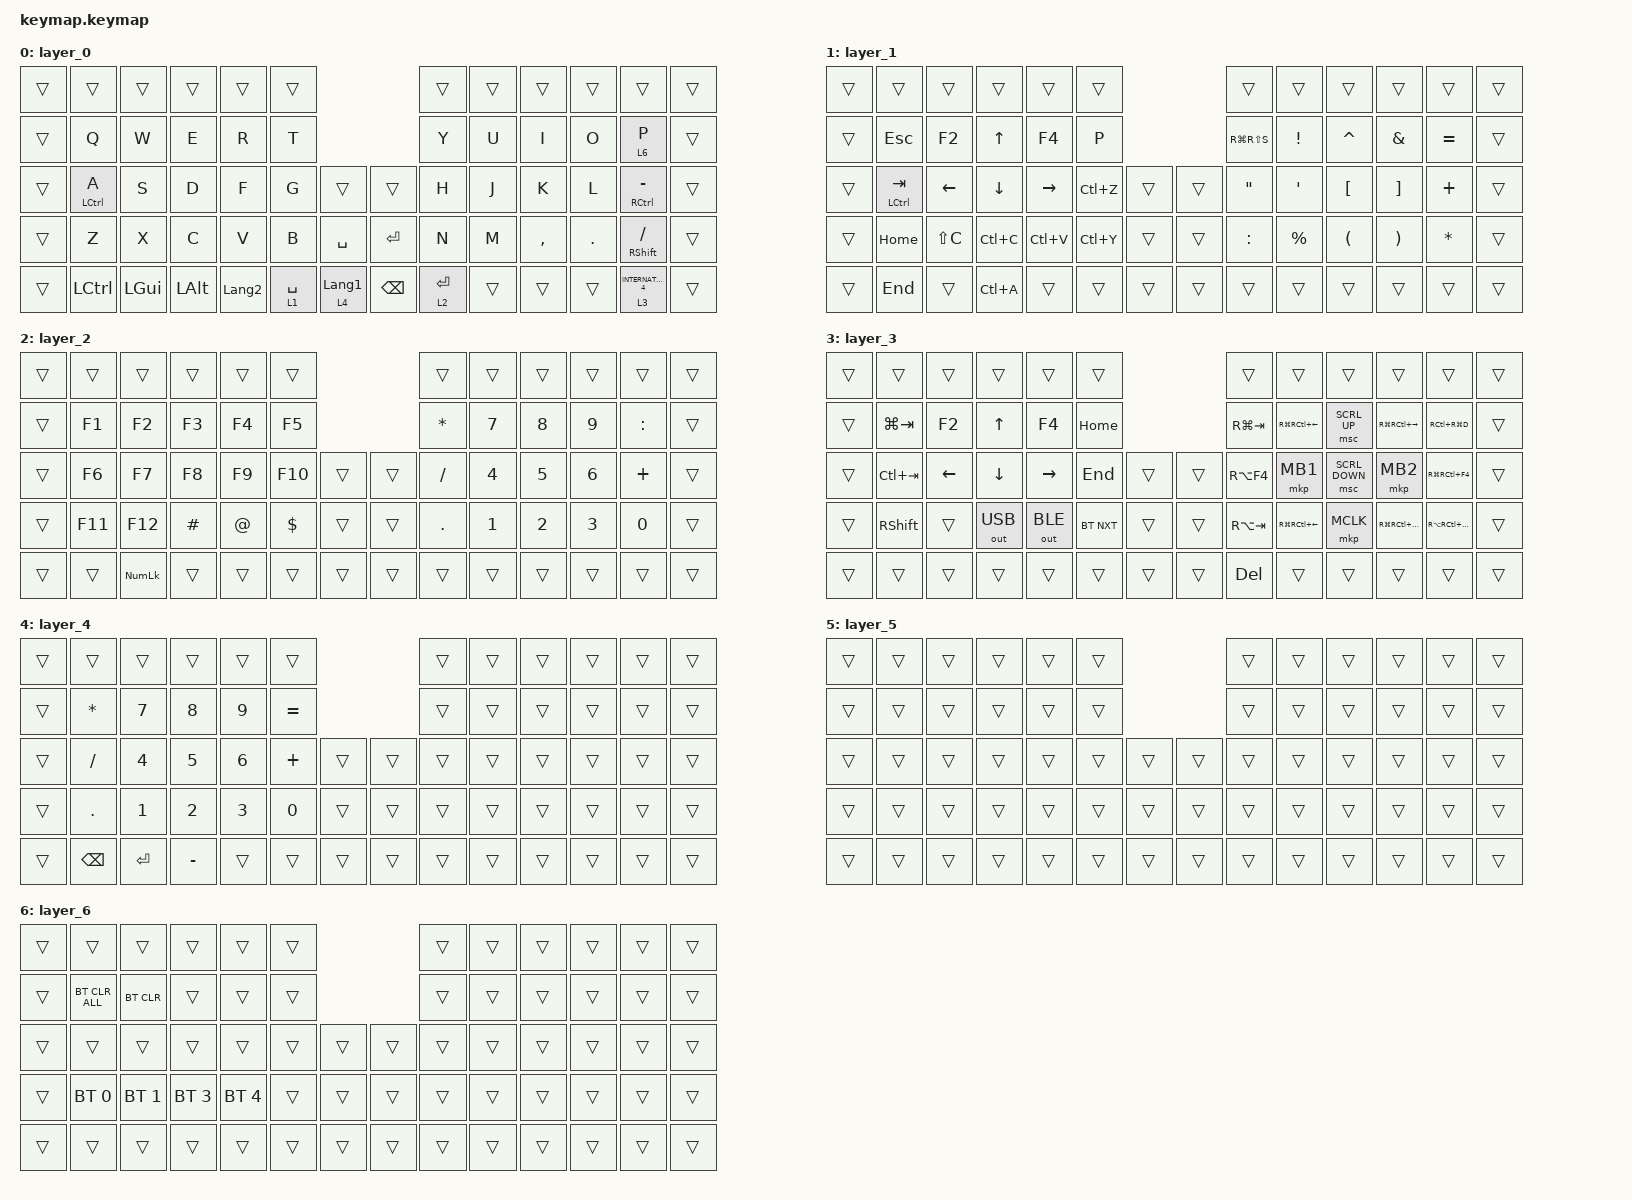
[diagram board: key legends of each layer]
#include <behaviors.dtsi>
#include <dt-bindings/zmk/bt.h>
#include <dt-bindings/zmk/keys.h>
#include <dt-bindings/zmk/outputs.h>
#include <dt-bindings/zmk/pointing.h>

/ {
    combos {
        compatible = "zmk,combos";

        bt_clear {
            bindings = <&bt BT_CLR>;
            key-positions = <28 29>;
            layers = <2>;
        };
    };

    keymap {
        compatible = "zmk,keymap";

        layer_0 {
            bindings = <
&trans  &trans              &trans    &trans    &trans          &trans                                        &trans       &trans  &trans     &trans   &trans                   &trans
&trans  &kp Q               &kp W     &kp E     &kp R           &kp T                                         &kp Y        &kp U   &kp I      &kp O    &lt 6 P                  &trans
&trans  &mt LEFT_CONTROL A  &kp S     &kp D     &kp F           &kp G        &trans            &trans         &kp H        &kp J   &kp K      &kp L    &mt RIGHT_CONTROL MINUS  &trans
&trans  &kp Z               &kp X     &kp C     &kp V           &kp B        &kp SPACE         &kp RET        &kp N        &kp M   &kp COMMA  &kp DOT  &mt RIGHT_SHIFT FSLH     &trans
&trans  &kp LCTRL           &kp LGUI  &kp LALT  &kp LANGUAGE_2  &lt 1 SPACE  &lt 4 LANGUAGE_1  &kp BACKSPACE  &lt 2 ENTER  &trans  &trans     &trans   &lt 3 INTERNATIONAL_4    &trans
            >;
        };

        layer_1 {
            bindings = <
&trans  &trans                &trans          &trans          &trans           &trans                     &trans             &trans            &trans                &trans                 &trans     &trans
&trans  &kp ESC               &kp F2          &kp UP_ARROW    &kp F4           &kp P                      &kp RG(RS(S))      &kp EXCL          &kp CARET             &kp AMPS               &kp EQUAL  &trans
&trans  &mt LEFT_CONTROL TAB  &kp LEFT_ARROW  &kp DOWN_ARROW  &kp RIGHT_ARROW  &kp LC(Z)  &trans  &trans  &kp DOUBLE_QUOTES  &kp SINGLE_QUOTE  &kp LEFT_BRACKET      &kp RIGHT_BRACKET      &kp PLUS   &trans
&trans  &kp HOME              &kp LS(C)       &kp LC(C)       &kp LC(V)        &kp LC(Y)  &trans  &trans  &kp COLON          &kp PRCNT         &kp LEFT_PARENTHESIS  &kp RIGHT_PARENTHESIS  &kp ASTRK  &trans
&trans  &kp END               &trans          &kp LC(A)       &trans           &trans     &trans  &trans  &trans             &trans            &trans                &trans                 &trans     &trans
            >;
        };

        layer_2 {
            bindings = <
&trans  &trans   &trans      &trans    &trans  &trans                    &trans      &trans        &trans        &trans        &trans     &trans
&trans  &kp F1   &kp F2      &kp F3    &kp F4  &kp F5                    &kp ASTRK   &kp N7        &kp N8        &kp N9        &kp COLON  &trans
&trans  &kp F6   &kp F7      &kp F8    &kp F9  &kp F10   &trans  &trans  &kp SLASH   &kp NUMBER_4  &kp NUMBER_5  &kp NUMBER_6  &kp PLUS   &trans
&trans  &kp F11  &kp F12     &kp HASH  &kp AT  &kp DLLR  &trans  &trans  &kp PERIOD  &kp NUMBER_1  &kp NUMBER_2  &kp NUMBER_3  &kp N0     &trans
&trans  &trans   &kp KP_NUM  &trans    &trans  &trans    &trans  &trans  &trans      &trans        &trans        &trans        &trans     &trans
            >;
        };

        layer_3 {
            bindings = <
&trans  &trans           &trans          &trans          &trans           &trans                      &trans       &trans                  &trans          &trans                       &trans                       &trans
&trans  &kp LG(TAB)      &kp F2          &kp UP_ARROW    &kp F4           &kp HOME                    &kp RG(TAB)  &kp RG(RC(LEFT_ARROW))  &msc SCRL_UP    &kp RG(RC(RIGHT_ARROW))      &kp RC(RG(D))                &trans
&trans  &kp LC(TAB)      &kp LEFT_ARROW  &kp DOWN_ARROW  &kp RIGHT_ARROW  &kp END     &trans  &trans  &kp RA(F4)   &mkp MB1                &msc SCRL_DOWN  &mkp MB2                     &kp RG(RC(F4))               &trans
&trans  &kp RIGHT_SHIFT  &trans          &out OUT_USB    &out OUT_BLE     &bt BT_NXT  &trans  &trans  &kp RA(TAB)  &kp RG(RC(LEFT_ARROW))  &mkp MCLK       &kp RG(RC(RA(RIGHT_ARROW)))  &kp RA(RC(RG(RIGHT_ARROW)))  &trans
&trans  &trans           &trans          &trans          &trans           &trans      &trans  &trans  &kp DELETE   &trans                  &trans          &trans                       &trans                       &trans
            >;
        };

        layer_4 {
            bindings = <
&trans  &trans         &trans        &trans        &trans        &trans                     &trans  &trans  &trans  &trans  &trans  &trans
&trans  &kp ASTERISK   &kp N7        &kp N8        &kp N9        &kp EQUAL                  &trans  &trans  &trans  &trans  &trans  &trans
&trans  &kp SLASH      &kp NUMBER_4  &kp NUMBER_5  &kp NUMBER_6  &kp PLUS   &trans  &trans  &trans  &trans  &trans  &trans  &trans  &trans
&trans  &kp PERIOD     &kp NUMBER_1  &kp NUMBER_2  &kp NUMBER_3  &kp N0     &trans  &trans  &trans  &trans  &trans  &trans  &trans  &trans
&trans  &kp BACKSPACE  &kp ENTER     &kp MINUS     &trans        &trans     &trans  &trans  &trans  &trans  &trans  &trans  &trans  &trans
            >;
        };

        layer_5 {
            bindings = <
&trans  &trans  &trans  &trans  &trans  &trans                  &trans  &trans  &trans  &trans  &trans  &trans
&trans  &trans  &trans  &trans  &trans  &trans                  &trans  &trans  &trans  &trans  &trans  &trans
&trans  &trans  &trans  &trans  &trans  &trans  &trans  &trans  &trans  &trans  &trans  &trans  &trans  &trans
&trans  &trans  &trans  &trans  &trans  &trans  &trans  &trans  &trans  &trans  &trans  &trans  &trans  &trans
&trans  &trans  &trans  &trans  &trans  &trans  &trans  &trans  &trans  &trans  &trans  &trans  &trans  &trans
            >;
        };

        layer_6 {
            bindings = <
&trans  &trans          &trans        &trans        &trans        &trans                  &trans  &trans  &trans  &trans  &trans  &trans
&trans  &bt BT_CLR_ALL  &bt BT_CLR    &trans        &trans        &trans                  &trans  &trans  &trans  &trans  &trans  &trans
&trans  &trans          &trans        &trans        &trans        &trans  &trans  &trans  &trans  &trans  &trans  &trans  &trans  &trans
&trans  &bt BT_SEL 0    &bt BT_SEL 1  &bt BT_SEL 3  &bt BT_SEL 4  &trans  &trans  &trans  &trans  &trans  &trans  &trans  &trans  &trans
&trans  &trans          &trans        &trans        &trans        &trans  &trans  &trans  &trans  &trans  &trans  &trans  &trans  &trans
            >;
        };
    };
};
